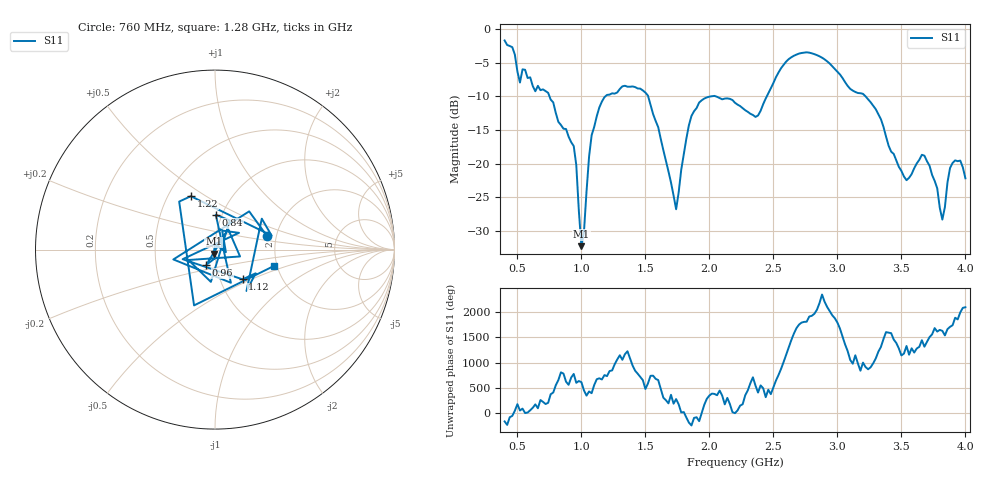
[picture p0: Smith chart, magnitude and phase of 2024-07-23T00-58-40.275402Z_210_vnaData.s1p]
!Created with skrf (http://scikit-rf.org).
# Hz S RI R 50.0
!freq ReS11 ImS11
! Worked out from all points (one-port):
!   181 points, 400 MHz to 4 GHz, reference 50 ohm
!   lowest |S11| = -32.2 dB at 1 GHz (marker M1), VSWR 1.05, Z = 49.3 - j2.32 ohm
!   |S11| at or under -10 dB: 750.9 MHz to 1.186 GHz (435.2 MHz wide, 44.9 % of centre); 1.522 GHz to 2.008 GHz (485.9 MHz wide, 27.5 % of centre); 3.221 GHz to end of sweep (the widest 3 of 4)
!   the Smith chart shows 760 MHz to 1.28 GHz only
!   S11 on the Smith chart (normalised r, x): 760 MHz: 1.79, +0.29; 840 MHz: 0.93, +0.38; 960 MHz: 0.90, -0.15; 1.12 GHz: 1.28, -0.45; 1.22 GHz: 0.65, +0.43; 1.28 GHz: 1.91, -0.40
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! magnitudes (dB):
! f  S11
! 400 MHz  -1.7
! 520 MHz  -7.9
! 560 MHz  -6.0
! 760 MHz  -10.5
! 840 MHz  -14.2
! 860 MHz  -14.8
! 960 MHz  -20.2
! 1 GHz  -32.2
! 1.06 GHz  -18.9
! 1.12 GHz  -12.9
! 1.22 GHz  -9.7
! 1.28 GHz  -9.4
! 1.3 GHz  -8.9
! 1.52 GHz  -9.9
! 1.74 GHz  -26.8
! 1.76 GHz  -24.2
! 1.84 GHz  -14.3
! 1.92 GHz  -10.9
! 2.2 GHz  -10.9
! 2.38 GHz  -12.8
! 2.66 GHz  -4.0
! 3.1 GHz  -8.9
! 3.3 GHz  -11.9
! 3.56 GHz  -22.1
! 3.68 GHz  -18.8
! 3.82 GHz  -28.3
! 3.9 GHz  -19.9
! 4 GHz  -22.2
